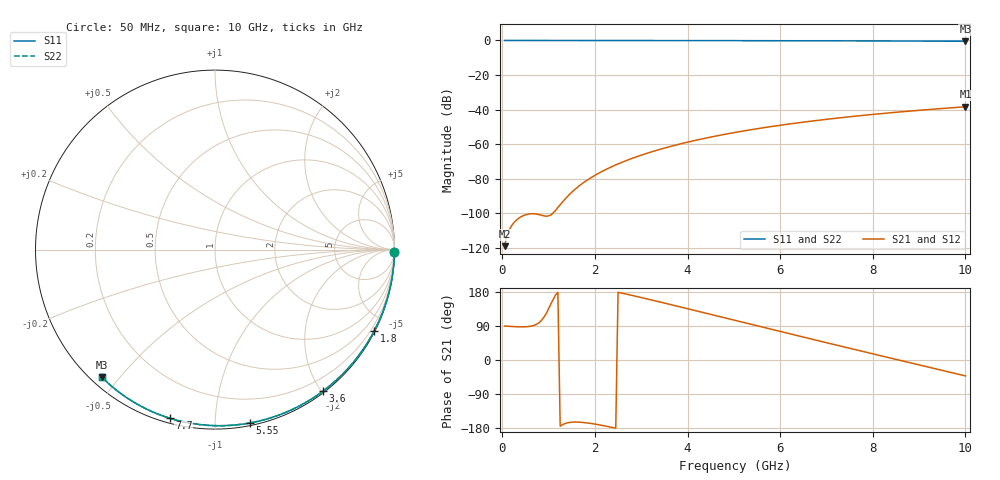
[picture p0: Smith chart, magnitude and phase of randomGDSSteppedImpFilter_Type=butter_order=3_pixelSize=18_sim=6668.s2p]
! freq	dB(S11)	phase(S11)	dB(S12)	phase(S12)
!  dB(S21)	phase(S21)	dB(S22)	phase(S22)
!S-par simulation data
#  GHz  S  DB  R 50
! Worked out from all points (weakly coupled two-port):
!   200 points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, 50 MHz to 10 GHz, reference 50 ohm
!   highest |S21| = -38.39 dB at 10 GHz (marker M1); lowest = -119.0 dB at 50 MHz (marker M2)
!   lowest |S11| = -0.4 dB at 10 GHz (marker M3), VSWR 38.90, Z = 1.55 - j22.5 ohm
!   |S11| at or under -10 dB: nowhere
!   |S22| runs from -0.4 to 0.0 dB; largest |S21 - S12| = 0
!   S11 on the Smith chart (normalised r, x): 50 MHz: open; 1.8 GHz: 0.04, -4.17; 3.6 GHz: 0.02, -2.02; 5.55 GHz: 0.02, -1.22; 7.7 GHz: 0.02, -0.77; 10 GHz: 0.03, -0.45
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0.05  -0.00 -0.8  -119.05 89.6  -119.05 89.6  -0.00 -0.8
0.9  -0.02 -13.6  -101.51 113.3  -101.51 113.3  -0.02 -13.6
1.75  -0.03 -26.2  -82.35 -164.9  -82.35 -164.9  -0.03 -26.2
1.8  -0.03 -26.9  -81.41 -165.6  -81.41 -165.6  -0.03 -26.9
1.85  -0.04 -27.7  -80.52 -166.3  -80.52 -166.3  -0.04 -27.7
1.9  -0.04 -28.4  -79.67 -167.2  -79.67 -167.2  -0.04 -28.4
2.05  -0.04 -30.6  -77.29 -170.2  -77.29 -170.2  -0.04 -30.6
2.25  -0.04 -33.5  -74.49 -174.8  -74.49 -174.8  -0.04 -33.5
2.45  -0.05 -36.4  -72.01 -179.9  -72.01 -179.9  -0.05 -36.4
2.65  -0.05 -39.3  -69.79 174.7  -69.79 174.7  -0.05 -39.3
3  -0.06 -44.3  -66.38 164.9  -66.38 164.9  -0.06 -44.3
3.4  -0.07 -49.9  -63.04 153.2  -63.04 153.2  -0.07 -49.9
3.6  -0.07 -52.7  -61.55 147.3  -61.55 147.3  -0.07 -52.7
4.3  -0.09 -62.3  -57.04 126.4  -57.04 126.4  -0.09 -62.2
5.05  -0.11 -72.2  -53.11 103.9  -53.11 103.9  -0.11 -72.2
5.55  -0.13 -78.7  -50.88 88.8  -50.88 88.8  -0.13 -78.7
6.1  -0.15 -85.6  -48.70 72.4  -48.70 72.4  -0.15 -85.6
6.7  -0.18 -93.1  -46.60 54.5  -46.60 54.5  -0.18 -93.1
7.7  -0.24 -105.1  -43.60 25.1  -43.60 25.1  -0.24 -105.1
8.35  -0.29 -112.7  -41.92 6.1  -41.92 6.1  -0.29 -112.7
9.15  -0.36 -121.8  -40.09 -17.2  -40.09 -17.2  -0.36 -121.8
10  -0.45 -131.5  -38.39 -42.0  -38.39 -42.0  -0.45 -131.4
